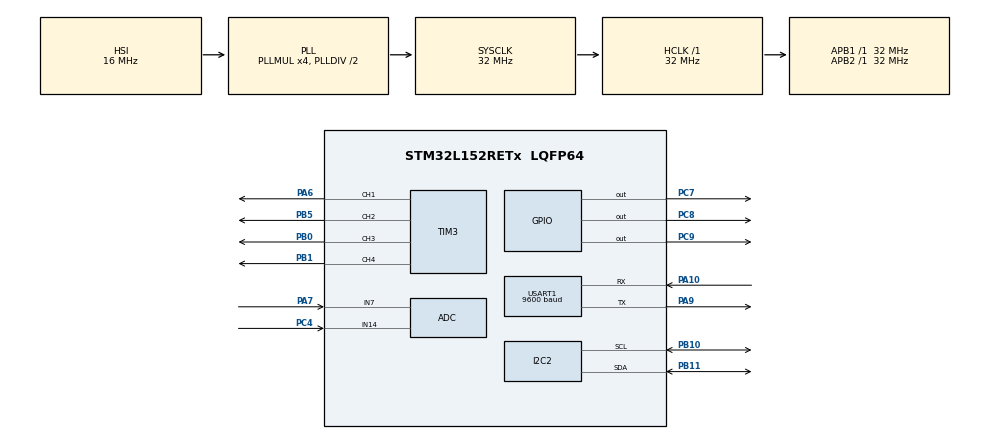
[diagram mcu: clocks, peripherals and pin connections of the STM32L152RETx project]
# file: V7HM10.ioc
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ADC.Channel-0\#ChannelRegularConversion=ADC_CHANNEL_7
ADC.Channel-1\#ChannelRegularConversion=ADC_CHANNEL_14
ADC.DiscontinuousConvMode=DISABLE
ADC.NbrOfConversion=2
ADC.NbrOfConversionFlag=1
ADC.Rank-0\#ChannelRegularConversion=1
ADC.Rank-1\#ChannelRegularConversion=2
ADC.SamplingTime-0\#ChannelRegularConversion=ADC_SAMPLETIME_4CYCLES
ADC.SamplingTime-1\#ChannelRegularConversion=ADC_SAMPLETIME_4CYCLES
ADC.ScanConvMode=ADC_SCAN_ENABLE
Dma.ADC.2.Direction=DMA_PERIPH_TO_MEMORY
Dma.ADC.2.Instance=DMA1_Channel1
Dma.ADC.2.MemDataAlignment=DMA_MDATAALIGN_WORD
Dma.ADC.2.MemInc=DMA_MINC_ENABLE
Dma.ADC.2.Mode=DMA_CIRCULAR
Dma.ADC.2.PeriphDataAlignment=DMA_PDATAALIGN_WORD
Dma.ADC.2.PeriphInc=DMA_PINC_DISABLE
Dma.ADC.2.Priority=DMA_PRIORITY_LOW
Dma.Request0=USART1_RX
Dma.Request1=USART1_TX
Dma.Request2=ADC
Dma.USART1_RX.0.Direction=DMA_PERIPH_TO_MEMORY
Dma.USART1_RX.0.Instance=DMA1_Channel5
Dma.USART1_RX.0.MemDataAlignment=DMA_MDATAALIGN_BYTE
Dma.USART1_RX.0.MemInc=DMA_MINC_ENABLE
Dma.USART1_RX.0.Mode=DMA_NORMAL
Dma.USART1_RX.0.PeriphDataAlignment=DMA_PDATAALIGN_BYTE
Dma.USART1_RX.0.PeriphInc=DMA_PINC_DISABLE
Dma.USART1_RX.0.Priority=DMA_PRIORITY_LOW
Dma.USART1_TX.1.Direction=DMA_MEMORY_TO_PERIPH
Dma.USART1_TX.1.Instance=DMA1_Channel4
Dma.USART1_TX.1.MemDataAlignment=DMA_MDATAALIGN_BYTE
Dma.USART1_TX.1.MemInc=DMA_MINC_ENABLE
Dma.USART1_TX.1.Mode=DMA_NORMAL
Dma.USART1_TX.1.PeriphDataAlignment=DMA_PDATAALIGN_BYTE
Dma.USART1_TX.1.PeriphInc=DMA_PINC_DISABLE
Dma.USART1_TX.1.Priority=DMA_PRIORITY_LOW
Mcu.Family=STM32L1
Mcu.Name=STM32L152RETx
Mcu.Package=LQFP64
NVIC.DMA1_Channel1_IRQn=true\:0\:0\:false\:false\:true\:false\:true\:true
NVIC.DMA1_Channel4_IRQn=true\:0\:0\:false\:false\:true\:false\:true\:true
NVIC.DMA1_Channel5_IRQn=true\:0\:0\:false\:false\:true\:false\:true\:true
NVIC.PriorityGroup=NVIC_PRIORITYGROUP_0
NVIC.TIM2_IRQn=true\:0\:0\:false\:false\:true\:true\:true\:true
NVIC.USART1_IRQn=true\:0\:0\:false\:false\:true\:true\:true\:true
PA10.Mode=Asynchronous
PA10.Signal=USART1_RX
PA13.GPIO_Label=TMS
PA13.Mode=Serial_Wire
PA13.Signal=SYS_JTMS-SWDIO
PA14.GPIO_Label=TCK
PA14.Mode=Serial_Wire
PA14.Signal=SYS_JTCK-SWCLK
PA6.Signal=S_TIM3_CH1
PA7.Mode=IN7
PA7.Signal=ADC_IN7
PA9.Mode=Asynchronous
PA9.Signal=USART1_TX
PB0.Signal=S_TIM3_CH3
PB1.Signal=S_TIM3_CH4
PB10.Mode=I2C
PB10.Signal=I2C2_SCL
PB11.Mode=I2C
PB11.Signal=I2C2_SDA
PB3.GPIO_Label=SWO
PB3.Signal=SYS_JTDO-TRACESWO
PB5.Signal=S_TIM3_CH2
PC14-OSC32_IN.Mode=LSE-External-Oscillator
PC14-OSC32_IN.Signal=RCC_OSC32_IN
PC15-OSC32_OUT.Mode=LSE-External-Oscillator
PC15-OSC32_OUT.Signal=RCC_OSC32_OUT
PC4.Mode=IN14
PC4.Signal=ADC_IN14
PC7.Signal=GPIO_Output
PC8.Signal=GPIO_Output
PC9.Signal=GPIO_Output
PH0-OSC_IN.Mode=HSE-External-Oscillator
PH0-OSC_IN.Signal=RCC_OSC_IN
PH1-OSC_OUT.Mode=HSE-External-Oscillator
PH1-OSC_OUT.Signal=RCC_OSC_OUT
ProjectManager.HeapSize=0x200
ProjectManager.StackSize=0x400
ProjectManager.TargetToolchain=STM32CubeIDE
RCC.48MHZClocksFreq_Value=32000000
RCC.AHBFreq_Value=32000000
RCC.APB1Freq_Value=32000000
RCC.APB1TimFreq_Value=32000000
RCC.APB2Freq_Value=32000000
RCC.APB2TimFreq_Value=32000000
RCC.HCLKFreq_Value=32000000
RCC.HSE_VALUE=8000000
RCC.HSI_VALUE=16000000
RCC.MSI_VALUE=2097000
RCC.PLLMUL=RCC_PLL_MUL4
RCC.RTCClockSelectionVirtual=RCC_RTCCLKSOURCE_LSE
RCC.SYSCLKFreq_VALUE=32000000
RCC.SYSCLKSource=RCC_SYSCLKSOURCE_PLLCLK
RCC.USBOutput=48000000
RCC.VCOOutputFreq_Value=64000000
SH.S_TIM3_CH1.0=TIM3_CH1,PWM Generation1 CH1
SH.S_TIM3_CH2.0=TIM3_CH2,PWM Generation2 CH2
SH.S_TIM3_CH3.0=TIM3_CH3,PWM Generation3 CH3
SH.S_TIM3_CH4.0=TIM3_CH4,Output Compare4 CH4
TIM2.Period=49999
TIM2.Prescaler=3199
TIM3.AutoReloadPreload=TIM_AUTORELOAD_PRELOAD_ENABLE
TIM3.Channel-Output\ Compare4\ CH4=TIM_CHANNEL_4
TIM3.Channel-PWM\ Generation1\ CH1=TIM_CHANNEL_1
TIM3.Channel-PWM\ Generation2\ CH2=TIM_CHANNEL_2
TIM3.Channel-PWM\ Generation3\ CH3=TIM_CHANNEL_3
USART1.BaudRate=9600
USART1.VirtualMode=VM_ASYNC
VP_TIM2_VS_ClockSourceINT.Mode=Internal
board=NUCLEO-L152RE

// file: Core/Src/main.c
/* USER CODE BEGIN Header */
/**
  ******************************************************************************
  * @file           : main.c
  * @brief          : Main program body
  ******************************************************************************
  * @attention
  *
  * Copyright (c) 2025 STMicroelectronics.
  * All rights reserved.
  *
  * This software is licensed under terms that can be found in the LICENSE file
  * in the root directory of this software component.
  * If no LICENSE file comes with this software, it is provided AS-IS.
  *
  ******************************************************************************
  */
/* USER CODE END Header */
#include "main.h"

/* USER CODE BEGIN Includes */
#include "string.h"
#include "stdio.h"
#include "math.h"
#include <stdbool.h>
#include "AHT20.h"

/* USER CODE END Includes */

/* USER CODE BEGIN PD */
#define BUF_SIZE 50
/* USER CODE END PD */

ADC_HandleTypeDef hadc;
DMA_HandleTypeDef hdma_adc;

I2C_HandleTypeDef hi2c2;

TIM_HandleTypeDef htim2;
TIM_HandleTypeDef htim3;

UART_HandleTypeDef huart1;
DMA_HandleTypeDef hdma_usart1_rx;
DMA_HandleTypeDef hdma_usart1_tx;

/* USER CODE BEGIN PV */
float Temp, Hum, WindD, WindS;
static uint8_t rxBuf[BUF_SIZE] = {0};
static uint8_t txBuf[BUF_SIZE] = {0};
static char* msgAT = "AT";
static char* msgOK = "OK";
volatile bool sample_ready = true;
volatile bool uart_tx_done = true;
volatile bool adc_done = false;
uint16_t adcBuffer[2]; //dir, speed

/* USER CODE END PV */

void SystemClock_Config(void);
static void MX_GPIO_Init(void);
static void MX_DMA_Init(void);
static void MX_USART1_UART_Init(void);
static void MX_TIM2_Init(void);
static void MX_ADC_Init(void);
static void MX_I2C2_Init(void);
static void MX_TIM3_Init(void);

int main(void)
{

  /* MCU Configuration--------------------------------------------------------*/

  /* Reset of all peripherals, Initializes the Flash interface and the Systick. */
  HAL_Init();

  /* Configure the system clock */
  SystemClock_Config();

  /* Initialize all configured peripherals */
  MX_GPIO_Init();
  MX_DMA_Init();
  MX_USART1_UART_Init();
  MX_TIM2_Init();
  MX_ADC_Init();
  MX_I2C2_Init();
  MX_TIM3_Init();
  /* USER CODE BEGIN 2 */
  AHT20_Init(&hi2c2);

  HAL_UART_Receive_DMA(&huart1, rxBuf, strlen(msgOK)); //expecting 2 char response (OK)
  HAL_UART_Transmit_DMA(&huart1, (uint8_t*)msgAT, strlen(msgAT));//Send AT command

  HAL_GPIO_WritePin(GPIOC, GPIO_PIN_9, 1);

  /* USER CODE END 2 */

  /* Infinite loop */
  /* USER CODE BEGIN WHILE */
  while (1)
  {
	  AHT20_Measure(&hi2c2,&Temp, &Hum);

	  uint32_t adcVal1 = 0;
	  uint32_t adcVal2 = 0;

	  HAL_ADC_Start(&hadc);
	  HAL_ADC_PollForConversion(&hadc, 1000);
	  adcVal1 = HAL_ADC_GetValue(&hadc);

	  HAL_ADC_PollForConversion(&hadc, 1000);
	  adcVal2 = HAL_ADC_GetValue(&hadc);

	  HAL_ADC_Stop(&hadc);

	  HAL_Delay(100);
	  WindD = (adcVal1/4095) * 360;
	  WindS = (adcVal2/4095) * 30 * 3.6 ; // m/s

//	  sprintf((char*)txBuf, "%.2f, %.2f, %.2f, %.2f",Temp, Hum, WindD, WindS);
	  sprintf((char*)txBuf, "T %.2f, H %.2f",Temp, Hum);

//	  HAL_UART_Transmit_DMA(&huart1, (uint8_t*)txBuf, strlen((char*)txBuf));
	  HAL_UART_Transmit(&huart1, (uint8_t*)txBuf, strlen((char*)txBuf), 5000);
	  HAL_Delay(1000); //for visual

//	      Start 5 second timer
	  HAL_GPIO_WritePin(GPIOC, GPIO_PIN_9, 0); // LED OFF during sleep
	  __HAL_TIM_SET_COUNTER(&htim2, 0);
	  __HAL_TIM_CLEAR_FLAG(&htim2, TIM_FLAG_UPDATE);
	  HAL_TIM_Base_Start_IT(&htim2);

	  HAL_SuspendTick();
	  HAL_PWR_EnterSLEEPMode(PWR_MAINREGULATOR_ON, PWR_SLEEPENTRY_WFI);
	  //wakeup here
	  HAL_ResumeTick();
	  HAL_TIM_Base_Stop_IT(&htim2);
	  HAL_Delay(100);
	  HAL_GPIO_WritePin(GPIOC, GPIO_PIN_9, 1);

    /* USER CODE END WHILE */

  }
}

void SystemClock_Config(void)
{
  RCC_OscInitTypeDef RCC_OscInitStruct = {0};
  RCC_ClkInitTypeDef RCC_ClkInitStruct = {0};

  /** Configure the main internal regulator output voltage
  */
  __HAL_PWR_VOLTAGESCALING_CONFIG(PWR_REGULATOR_VOLTAGE_SCALE1);

  /** Initializes the RCC Oscillators according to the specified parameters
  * in the RCC_OscInitTypeDef structure.
  */
  RCC_OscInitStruct.OscillatorType = RCC_OSCILLATORTYPE_HSI;
  RCC_OscInitStruct.HSIState = RCC_HSI_ON;
  RCC_OscInitStruct.HSICalibrationValue = RCC_HSICALIBRATION_DEFAULT;
  RCC_OscInitStruct.PLL.PLLState = RCC_PLL_ON;
  RCC_OscInitStruct.PLL.PLLSource = RCC_PLLSOURCE_HSI;
  RCC_OscInitStruct.PLL.PLLMUL = RCC_PLL_MUL4;
  RCC_OscInitStruct.PLL.PLLDIV = RCC_PLL_DIV2;
  if (HAL_RCC_OscConfig(&RCC_OscInitStruct) != HAL_OK)
  {
    Error_Handler();
  }

  /** Initializes the CPU, AHB and APB buses clocks
  */
  RCC_ClkInitStruct.ClockType = RCC_CLOCKTYPE_HCLK|RCC_CLOCKTYPE_SYSCLK
                              |RCC_CLOCKTYPE_PCLK1|RCC_CLOCKTYPE_PCLK2;
  RCC_ClkInitStruct.SYSCLKSource = RCC_SYSCLKSOURCE_PLLCLK;
  RCC_ClkInitStruct.AHBCLKDivider = RCC_SYSCLK_DIV1;
  RCC_ClkInitStruct.APB1CLKDivider = RCC_HCLK_DIV1;
  RCC_ClkInitStruct.APB2CLKDivider = RCC_HCLK_DIV1;

  if (HAL_RCC_ClockConfig(&RCC_ClkInitStruct, FLASH_LATENCY_1) != HAL_OK)
  {
    Error_Handler();
  }
}

static void MX_ADC_Init(void)
{

  ADC_ChannelConfTypeDef sConfig = {0};

  /** Configure the global features of the ADC (Clock, Resolution, Data Alignment and number of conversion)
  */
  hadc.Instance = ADC1;
  hadc.Init.ClockPrescaler = ADC_CLOCK_ASYNC_DIV1;
  hadc.Init.Resolution = ADC_RESOLUTION_12B;
  hadc.Init.DataAlign = ADC_DATAALIGN_RIGHT;
  hadc.Init.ScanConvMode = ADC_SCAN_ENABLE;
  hadc.Init.EOCSelection = ADC_EOC_SEQ_CONV;
  hadc.Init.LowPowerAutoWait = ADC_AUTOWAIT_DISABLE;
  hadc.Init.LowPowerAutoPowerOff = ADC_AUTOPOWEROFF_DISABLE;
  hadc.Init.ChannelsBank = ADC_CHANNELS_BANK_A;
  hadc.Init.ContinuousConvMode = DISABLE;
  hadc.Init.NbrOfConversion = 2;
  hadc.Init.DiscontinuousConvMode = DISABLE;
  hadc.Init.ExternalTrigConv = ADC_SOFTWARE_START;
  hadc.Init.ExternalTrigConvEdge = ADC_EXTERNALTRIGCONVEDGE_NONE;
  hadc.Init.DMAContinuousRequests = DISABLE;
  if (HAL_ADC_Init(&hadc) != HAL_OK)
  {
    Error_Handler();
  }

  /** Configure for the selected ADC regular channel its corresponding rank in the sequencer and its sample time.
  */
  sConfig.Channel = ADC_CHANNEL_7;
  sConfig.Rank = ADC_REGULAR_RANK_1;
  sConfig.SamplingTime = ADC_SAMPLETIME_4CYCLES;
  if (HAL_ADC_ConfigChannel(&hadc, &sConfig) != HAL_OK)
  {
    Error_Handler();
  }

  /** Configure for the selected ADC regular channel its corresponding rank in the sequencer and its sample time.
  */
  sConfig.Channel = ADC_CHANNEL_14;
  sConfig.Rank = ADC_REGULAR_RANK_2;
  sConfig.SamplingTime = ADC_SAMPLETIME_4CYCLES;
  if (HAL_ADC_ConfigChannel(&hadc, &sConfig) != HAL_OK)
  {
    Error_Handler();
  }

}

static void MX_I2C2_Init(void)
{

  hi2c2.Instance = I2C2;
  hi2c2.Init.ClockSpeed = 100000;
  hi2c2.Init.DutyCycle = I2C_DUTYCYCLE_2;
  hi2c2.Init.OwnAddress1 = 0;
  hi2c2.Init.AddressingMode = I2C_ADDRESSINGMODE_7BIT;
  hi2c2.Init.DualAddressMode = I2C_DUALADDRESS_DISABLE;
  hi2c2.Init.OwnAddress2 = 0;
  hi2c2.Init.GeneralCallMode = I2C_GENERALCALL_DISABLE;
  hi2c2.Init.NoStretchMode = I2C_NOSTRETCH_DISABLE;
  if (HAL_I2C_Init(&hi2c2) != HAL_OK)
  {
    Error_Handler();
  }

}

static void MX_TIM2_Init(void)
{

  TIM_ClockConfigTypeDef sClockSourceConfig = {0};
  TIM_MasterConfigTypeDef sMasterConfig = {0};

  htim2.Instance = TIM2;
  htim2.Init.Prescaler = 3199;
  htim2.Init.CounterMode = TIM_COUNTERMODE_UP;
  htim2.Init.Period = 49999;
  htim2.Init.ClockDivision = TIM_CLOCKDIVISION_DIV1;
  htim2.Init.AutoReloadPreload = TIM_AUTORELOAD_PRELOAD_DISABLE;
  if (HAL_TIM_Base_Init(&htim2) != HAL_OK)
  {
    Error_Handler();
  }
  sClockSourceConfig.ClockSource = TIM_CLOCKSOURCE_INTERNAL;
  if (HAL_TIM_ConfigClockSource(&htim2, &sClockSourceConfig) != HAL_OK)
  {
    Error_Handler();
  }
  sMasterConfig.MasterOutputTrigger = TIM_TRGO_RESET;
  sMasterConfig.MasterSlaveMode = TIM_MASTERSLAVEMODE_DISABLE;
  if (HAL_TIMEx_MasterConfigSynchronization(&htim2, &sMasterConfig) != HAL_OK)
  {
    Error_Handler();
  }

}

static void MX_TIM3_Init(void)
{

  TIM_MasterConfigTypeDef sMasterConfig = {0};
  TIM_OC_InitTypeDef sConfigOC = {0};

  htim3.Instance = TIM3;
  htim3.Init.Prescaler = 0;
  htim3.Init.CounterMode = TIM_COUNTERMODE_UP;
  htim3.Init.Period = 65535;
  htim3.Init.ClockDivision = TIM_CLOCKDIVISION_DIV1;
  htim3.Init.AutoReloadPreload = TIM_AUTORELOAD_PRELOAD_ENABLE;
  if (HAL_TIM_PWM_Init(&htim3) != HAL_OK)
  {
    Error_Handler();
  }
  if (HAL_TIM_OC_Init(&htim3) != HAL_OK)
  {
    Error_Handler();
  }
  sMasterConfig.MasterOutputTrigger = TIM_TRGO_RESET;
  sMasterConfig.MasterSlaveMode = TIM_MASTERSLAVEMODE_DISABLE;
  if (HAL_TIMEx_MasterConfigSynchronization(&htim3, &sMasterConfig) != HAL_OK)
  {
    Error_Handler();
  }
  sConfigOC.OCMode = TIM_OCMODE_PWM1;
  sConfigOC.Pulse = 0;
  sConfigOC.OCPolarity = TIM_OCPOLARITY_HIGH;
  sConfigOC.OCFastMode = TIM_OCFAST_DISABLE;
  if (HAL_TIM_PWM_ConfigChannel(&htim3, &sConfigOC, TIM_CHANNEL_1) != HAL_OK)
  {
    Error_Handler();
  }
  if (HAL_TIM_PWM_ConfigChannel(&htim3, &sConfigOC, TIM_CHANNEL_2) != HAL_OK)
  {
    Error_Handler();
  }
  if (HAL_TIM_PWM_ConfigChannel(&htim3, &sConfigOC, TIM_CHANNEL_3) != HAL_OK)
  {
    Error_Handler();
  }
  sConfigOC.OCMode = TIM_OCMODE_TIMING;
  if (HAL_TIM_OC_ConfigChannel(&htim3, &sConfigOC, TIM_CHANNEL_4) != HAL_OK)
  {
    Error_Handler();
  }
  HAL_TIM_MspPostInit(&htim3);

}

static void MX_USART1_UART_Init(void)
{

  huart1.Instance = USART1;
  huart1.Init.BaudRate = 9600;
  huart1.Init.WordLength = UART_WORDLENGTH_8B;
  huart1.Init.StopBits = UART_STOPBITS_1;
  huart1.Init.Parity = UART_PARITY_NONE;
  huart1.Init.Mode = UART_MODE_TX_RX;
  huart1.Init.HwFlowCtl = UART_HWCONTROL_NONE;
  huart1.Init.OverSampling = UART_OVERSAMPLING_16;
  if (HAL_UART_Init(&huart1) != HAL_OK)
  {
    Error_Handler();
  }

}

static void MX_DMA_Init(void)
{

  /* DMA controller clock enable */
  __HAL_RCC_DMA1_CLK_ENABLE();

  /* DMA interrupt init */
  /* DMA1_Channel1_IRQn interrupt configuration */
  HAL_NVIC_SetPriority(DMA1_Channel1_IRQn, 0, 0);
  HAL_NVIC_EnableIRQ(DMA1_Channel1_IRQn);
  /* DMA1_Channel4_IRQn interrupt configuration */
  HAL_NVIC_SetPriority(DMA1_Channel4_IRQn, 0, 0);
  HAL_NVIC_EnableIRQ(DMA1_Channel4_IRQn);
  /* DMA1_Channel5_IRQn interrupt configuration */
  HAL_NVIC_SetPriority(DMA1_Channel5_IRQn, 0, 0);
  HAL_NVIC_EnableIRQ(DMA1_Channel5_IRQn);

}

static void MX_GPIO_Init(void)
{
  GPIO_InitTypeDef GPIO_InitStruct = {0};

  /* GPIO Ports Clock Enable */
  __HAL_RCC_GPIOC_CLK_ENABLE();
  __HAL_RCC_GPIOH_CLK_ENABLE();
  __HAL_RCC_GPIOA_CLK_ENABLE();
  __HAL_RCC_GPIOB_CLK_ENABLE();

  /*Configure GPIO pin Output Level */
  HAL_GPIO_WritePin(GPIOC, GPIO_PIN_7|GPIO_PIN_8|GPIO_PIN_9, GPIO_PIN_RESET);

  /*Configure GPIO pins : PC7 PC8 PC9 */
  GPIO_InitStruct.Pin = GPIO_PIN_7|GPIO_PIN_8|GPIO_PIN_9;
  GPIO_InitStruct.Mode = GPIO_MODE_OUTPUT_PP;
  GPIO_InitStruct.Pull = GPIO_NOPULL;
  GPIO_InitStruct.Speed = GPIO_SPEED_FREQ_LOW;
  HAL_GPIO_Init(GPIOC, &GPIO_InitStruct);

}

/* USER CODE BEGIN 4 */
void HAL_TIM_PeriodElapsedCallback(TIM_HandleTypeDef *htim)
{
    if (htim->Instance == TIM2)
    {
    }

}

void HAL_ADC_ConvCpltCallback(ADC_HandleTypeDef* hadc)
{
    if (hadc->Instance == ADC1)
    {
        adc_done = true;
    }
}

void HAL_UART_TxCpltCallback(UART_HandleTypeDef *huart)
{
    if (huart->Instance == USART1)
    {
        uart_tx_done = true;
    }
}

/* USER CODE END 4 */

void Error_Handler(void)
{
  __disable_irq();
  while (1)
  {
  }
}
